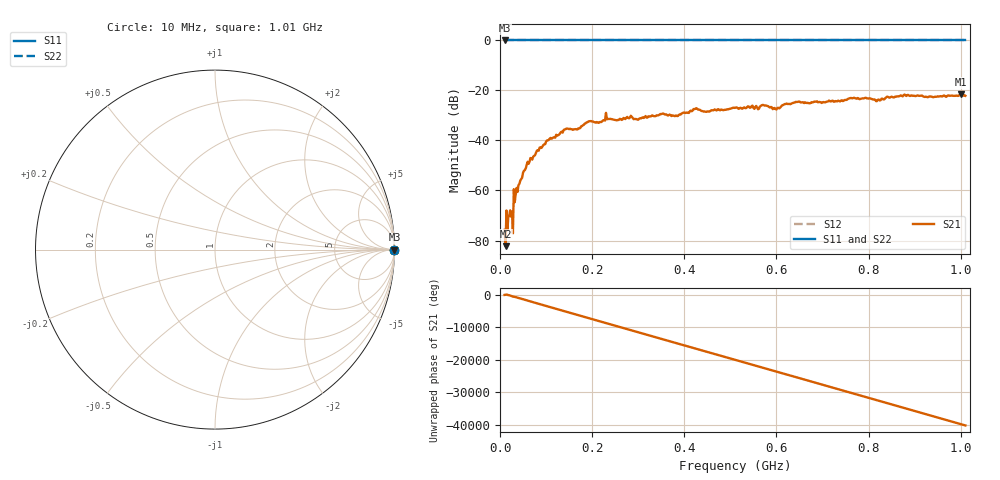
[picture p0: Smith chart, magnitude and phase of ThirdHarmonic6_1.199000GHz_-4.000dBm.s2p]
! 8/16/2025 12:23:33 PM
! C:\ANRITSUVNA\TEMP\TEMP.S2P
! CHANNEL.1
! TR.MEASUREMENT
! RAW.DATA
! RF.CORRECTION.OFF
! AVERAGING.OFF
! IF.BANDWIDTH: 5KHZ
! SWEEPTYPE:  FREQ.SWEEP(Linear)
! Reference Plane Port Info
! PORT:  PORT1  PORT2
! DISTANCE:  0  m  0  m
! TIME:  0  s  0  s
! PHASE.OFFSET:  0  deg.  0  deg.
! LOSS:  0  dB  0  dB
! REF.LOSS:  0  dB  0  dB
! REF.FREQ:  0  Hz  0  Hz
! Power Info
! POWER:  -20  dBm  -20  dBm
! EFF.POWER:  -20  dBm  -20  dBm
! SOURCE.ATTEN:  0  dB  0  dB
! TEST.ATTEN:  0  dB  0  dB
# GHZ S RI R 50.0
! FREQ.GHZ  S11RE  S11IM  S21RE  S21IM  S12RE  S12IM  S22RE  S22IM
!; PortSelection: Port_12
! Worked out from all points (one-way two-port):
!   501 points, 10 MHz to 1.01 GHz, reference 50 ohm
!   highest |S21| = -21.52 dB at 1 GHz (marker M1); lowest = -82.3 dB at 12 MHz (marker M2)
!   lowest |S11| = 0.0 dB at 10 MHz (marker M3)
!   |S11| at or under -10 dB: nowhere
!   |S22| runs from 0.0 to 0.0 dB; largest |S21 - S12| = 1.1
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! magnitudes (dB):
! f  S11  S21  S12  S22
! 10 MHz  0.0  -75.7  0.0  0.0
! 12 MHz  0.0  -82.3  0.0  0.0
! 18 MHz  0.0  -70.6  0.0  0.0
! 22 MHz  0.0  -68.0  0.0  0.0
! 24 MHz  0.0  -70.5  0.0  0.0
! 32 MHz  0.0  -64.7  0.0  0.0
! 34 MHz  0.0  -61.6  0.0  0.0
! 64 MHz  0.0  -48.6  0.0  0.0
! 106 MHz  0.0  -39.7  0.0  0.0
! 142 MHz  0.0  -35.5  0.0  0.0
! 178 MHz  0.0  -34.3  0.0  0.0
! 234 MHz  0.0  -31.4  0.0  0.0
! 298 MHz  0.0  -31.6  0.0  0.0
! 344 MHz  0.0  -29.9  0.0  0.0
! 510 MHz  0.0  -27.0  0.0  0.0
! 572 MHz  0.0  -25.8  0.0  0.0
! 596 MHz  0.0  -27.0  0.0  0.0
! 646 MHz  0.0  -24.6  0.0  0.0
! 678 MHz  0.0  -24.8  0.0  0.0
! 844 MHz  0.0  -22.8  0.0  0.0
! 1 GHz  0.0  -21.5  0.0  0.0
! 1.01 GHz  0.0  -22.1  0.0  0.0
